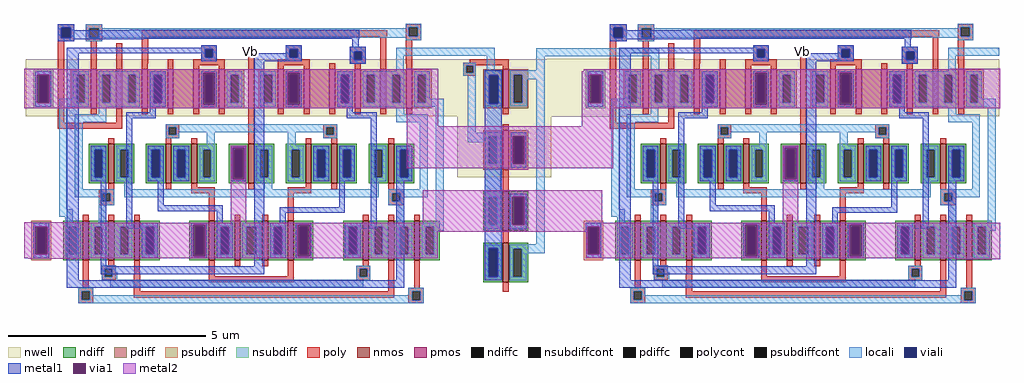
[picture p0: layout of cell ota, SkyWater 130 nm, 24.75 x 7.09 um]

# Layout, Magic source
magic
tech sky130A
<< nwell >>
rect 1051 125 1400 126
rect -270 -20 2199 125
rect 825 -21 1400 -20
rect 825 -175 1063 -21
<< nmos >>
rect -60 -190 -45 -90
rect 85 -190 100 -90
rect 150 -190 165 -90
rect 295 -190 310 -90
rect 440 -190 455 -90
rect 505 -190 520 -90
rect 650 -190 665 -90
rect 1340 -190 1355 -90
rect 1485 -190 1500 -90
rect 1550 -190 1565 -90
rect 1695 -190 1710 -90
rect 1840 -190 1855 -90
rect 1905 -190 1920 -90
rect 2050 -190 2065 -90
rect -125 -385 -110 -285
rect -60 -385 -45 -285
rect 5 -385 20 -285
rect 195 -385 210 -285
rect 260 -385 275 -285
rect 330 -385 345 -285
rect 395 -385 410 -285
rect 585 -385 600 -285
rect 650 -385 665 -285
rect 715 -385 730 -285
rect 940 -310 955 -210
rect 940 -440 955 -340
rect 1275 -385 1290 -285
rect 1340 -385 1355 -285
rect 1405 -385 1420 -285
rect 1595 -385 1610 -285
rect 1660 -385 1675 -285
rect 1730 -385 1745 -285
rect 1795 -385 1810 -285
rect 1985 -385 2000 -285
rect 2050 -385 2065 -285
rect 2115 -385 2130 -285
<< pmos >>
rect -105 0 -90 100
rect -40 0 -25 100
rect 25 0 40 100
rect 90 0 105 100
rect 155 0 170 100
rect 220 0 235 100
rect 370 0 385 100
rect 435 0 450 100
rect 500 0 515 100
rect 565 0 580 100
rect 630 0 645 100
rect 695 0 710 100
rect 940 0 955 100
rect 1295 0 1310 100
rect 1360 0 1375 100
rect 1425 0 1440 100
rect 1490 0 1505 100
rect 1555 0 1570 100
rect 1620 0 1635 100
rect 940 -155 955 -55
rect 1770 0 1785 100
rect 1835 0 1850 100
rect 1900 0 1915 100
rect 1965 0 1980 100
rect 2030 0 2045 100
rect 2095 0 2110 100
<< ndiff >>
rect -110 -105 -60 -90
rect -110 -175 -95 -105
rect -75 -175 -60 -105
rect -110 -190 -60 -175
rect -45 -105 5 -90
rect -45 -175 -30 -105
rect -10 -175 5 -105
rect -45 -190 5 -175
rect 35 -105 85 -90
rect 35 -175 50 -105
rect 70 -175 85 -105
rect 35 -190 85 -175
rect 100 -105 150 -90
rect 100 -175 115 -105
rect 135 -175 150 -105
rect 100 -190 150 -175
rect 165 -105 215 -90
rect 165 -175 180 -105
rect 200 -175 215 -105
rect 165 -190 215 -175
rect 245 -105 295 -90
rect 245 -175 260 -105
rect 280 -175 295 -105
rect 245 -190 295 -175
rect 310 -105 360 -90
rect 310 -175 325 -105
rect 345 -175 360 -105
rect 310 -190 360 -175
rect 390 -105 440 -90
rect 390 -175 405 -105
rect 425 -175 440 -105
rect 390 -190 440 -175
rect 455 -105 505 -90
rect 455 -175 470 -105
rect 490 -175 505 -105
rect 455 -190 505 -175
rect 520 -105 570 -90
rect 520 -175 535 -105
rect 555 -175 570 -105
rect 520 -190 570 -175
rect 600 -105 650 -90
rect 600 -175 615 -105
rect 635 -175 650 -105
rect 600 -190 650 -175
rect 665 -105 715 -90
rect 665 -175 680 -105
rect 700 -175 715 -105
rect 1290 -105 1340 -90
rect 665 -190 715 -175
rect 1290 -175 1305 -105
rect 1325 -175 1340 -105
rect 1290 -190 1340 -175
rect 1355 -105 1405 -90
rect 1355 -175 1370 -105
rect 1390 -175 1405 -105
rect 1355 -190 1405 -175
rect 1435 -105 1485 -90
rect 1435 -175 1450 -105
rect 1470 -175 1485 -105
rect 1435 -190 1485 -175
rect 1500 -105 1550 -90
rect 1500 -175 1515 -105
rect 1535 -175 1550 -105
rect 1500 -190 1550 -175
rect 1565 -105 1615 -90
rect 1565 -175 1580 -105
rect 1600 -175 1615 -105
rect 1565 -190 1615 -175
rect 1645 -105 1695 -90
rect 1645 -175 1660 -105
rect 1680 -175 1695 -105
rect 1645 -190 1695 -175
rect 1710 -105 1760 -90
rect 1710 -175 1725 -105
rect 1745 -175 1760 -105
rect 1710 -190 1760 -175
rect 1790 -105 1840 -90
rect 1790 -175 1805 -105
rect 1825 -175 1840 -105
rect 1790 -190 1840 -175
rect 1855 -105 1905 -90
rect 1855 -175 1870 -105
rect 1890 -175 1905 -105
rect 1855 -190 1905 -175
rect 1920 -105 1970 -90
rect 1920 -175 1935 -105
rect 1955 -175 1970 -105
rect 1920 -190 1970 -175
rect 2000 -105 2050 -90
rect 2000 -175 2015 -105
rect 2035 -175 2050 -105
rect 2000 -190 2050 -175
rect 2065 -105 2115 -90
rect 2065 -175 2080 -105
rect 2100 -175 2115 -105
rect 2065 -190 2115 -175
rect 890 -225 940 -210
rect -175 -300 -125 -285
rect -175 -370 -160 -300
rect -140 -370 -125 -300
rect -175 -385 -125 -370
rect -110 -300 -60 -285
rect -110 -370 -95 -300
rect -75 -370 -60 -300
rect -110 -385 -60 -370
rect -45 -300 5 -285
rect -45 -370 -30 -300
rect -10 -370 5 -300
rect -45 -385 5 -370
rect 20 -300 70 -285
rect 20 -370 35 -300
rect 55 -370 70 -300
rect 20 -385 70 -370
rect 145 -300 195 -285
rect 145 -370 160 -300
rect 180 -370 195 -300
rect 145 -385 195 -370
rect 210 -300 260 -285
rect 210 -370 225 -300
rect 245 -370 260 -300
rect 210 -385 260 -370
rect 275 -300 330 -285
rect 275 -370 290 -300
rect 315 -370 330 -300
rect 275 -385 330 -370
rect 345 -300 395 -285
rect 345 -370 360 -300
rect 380 -370 395 -300
rect 345 -385 395 -370
rect 410 -300 460 -285
rect 410 -370 425 -300
rect 445 -370 460 -300
rect 410 -385 460 -370
rect 535 -300 585 -285
rect 535 -370 550 -300
rect 570 -370 585 -300
rect 535 -385 585 -370
rect 600 -300 650 -285
rect 600 -370 615 -300
rect 635 -370 650 -300
rect 600 -385 650 -370
rect 665 -300 715 -285
rect 665 -370 680 -300
rect 700 -370 715 -300
rect 665 -385 715 -370
rect 730 -300 780 -285
rect 730 -370 745 -300
rect 765 -370 780 -300
rect 890 -295 905 -225
rect 925 -295 940 -225
rect 890 -310 940 -295
rect 955 -225 1005 -210
rect 955 -295 969 -225
rect 990 -295 1005 -225
rect 955 -310 1005 -295
rect 730 -385 780 -370
rect 890 -356 940 -340
rect 890 -427 905 -356
rect 926 -427 940 -356
rect 890 -440 940 -427
rect 955 -356 1005 -340
rect 955 -427 967 -356
rect 988 -427 1005 -356
rect 1225 -300 1275 -285
rect 1225 -370 1240 -300
rect 1260 -370 1275 -300
rect 1225 -385 1275 -370
rect 1290 -300 1340 -285
rect 1290 -370 1305 -300
rect 1325 -370 1340 -300
rect 1290 -385 1340 -370
rect 1355 -300 1405 -285
rect 1355 -370 1370 -300
rect 1390 -370 1405 -300
rect 1355 -385 1405 -370
rect 1420 -300 1470 -285
rect 1420 -370 1435 -300
rect 1455 -370 1470 -300
rect 1420 -385 1470 -370
rect 1545 -300 1595 -285
rect 1545 -370 1560 -300
rect 1580 -370 1595 -300
rect 1545 -385 1595 -370
rect 1610 -300 1660 -285
rect 1610 -370 1625 -300
rect 1645 -370 1660 -300
rect 1610 -385 1660 -370
rect 1675 -300 1730 -285
rect 1675 -370 1690 -300
rect 1715 -370 1730 -300
rect 1675 -385 1730 -370
rect 1745 -300 1795 -285
rect 1745 -370 1760 -300
rect 1780 -370 1795 -300
rect 1745 -385 1795 -370
rect 1810 -300 1860 -285
rect 1810 -370 1825 -300
rect 1845 -370 1860 -300
rect 1810 -385 1860 -370
rect 1935 -300 1985 -285
rect 1935 -370 1950 -300
rect 1970 -370 1985 -300
rect 1935 -385 1985 -370
rect 2000 -300 2050 -285
rect 2000 -370 2015 -300
rect 2035 -370 2050 -300
rect 2000 -385 2050 -370
rect 2065 -300 2115 -285
rect 2065 -370 2080 -300
rect 2100 -370 2115 -300
rect 2065 -385 2115 -370
rect 2130 -300 2180 -285
rect 2130 -370 2145 -300
rect 2165 -370 2180 -300
rect 2130 -385 2180 -370
rect 955 -440 1005 -427
<< pdiff >>
rect -155 85 -105 100
rect -155 15 -140 85
rect -120 15 -105 85
rect -155 0 -105 15
rect -90 85 -40 100
rect -90 15 -75 85
rect -55 15 -40 85
rect -90 0 -40 15
rect -25 85 25 100
rect -25 15 -10 85
rect 10 15 25 85
rect -25 0 25 15
rect 40 85 90 100
rect 40 15 55 85
rect 75 15 90 85
rect 40 0 90 15
rect 105 0 155 100
rect 170 85 220 100
rect 170 15 185 85
rect 205 15 220 85
rect 170 0 220 15
rect 235 85 285 100
rect 235 15 250 85
rect 270 15 285 85
rect 235 0 285 15
rect 320 85 370 100
rect 320 15 335 85
rect 355 15 370 85
rect 320 0 370 15
rect 385 85 435 100
rect 385 15 400 85
rect 420 15 435 85
rect 385 0 435 15
rect 450 0 500 100
rect 515 85 565 100
rect 515 15 530 85
rect 550 15 565 85
rect 515 0 565 15
rect 580 85 630 100
rect 580 15 595 85
rect 615 15 630 85
rect 580 0 630 15
rect 645 85 695 100
rect 645 15 660 85
rect 680 15 695 85
rect 645 0 695 15
rect 710 85 760 100
rect 710 15 725 85
rect 745 15 760 85
rect 890 84 940 100
rect 710 0 760 15
rect 890 13 906 84
rect 927 13 940 84
rect 890 0 940 13
rect 955 86 1005 100
rect 955 15 968 86
rect 989 15 1005 86
rect 955 0 1005 15
rect 1245 85 1295 100
rect 1245 15 1260 85
rect 1280 15 1295 85
rect 1245 0 1295 15
rect 1310 85 1360 100
rect 1310 15 1325 85
rect 1345 15 1360 85
rect 1310 0 1360 15
rect 1375 85 1425 100
rect 1375 15 1390 85
rect 1410 15 1425 85
rect 1375 0 1425 15
rect 1440 85 1490 100
rect 1440 15 1455 85
rect 1475 15 1490 85
rect 1440 0 1490 15
rect 1505 0 1555 100
rect 1570 85 1620 100
rect 1570 15 1585 85
rect 1605 15 1620 85
rect 1570 0 1620 15
rect 1635 85 1685 100
rect 1635 15 1650 85
rect 1670 15 1685 85
rect 1635 0 1685 15
rect 890 -70 940 -55
rect 890 -140 905 -70
rect 925 -140 940 -70
rect 890 -155 940 -140
rect 955 -70 1005 -55
rect 955 -140 970 -70
rect 990 -140 1005 -70
rect 1720 85 1770 100
rect 1720 15 1735 85
rect 1755 15 1770 85
rect 1720 0 1770 15
rect 1785 85 1835 100
rect 1785 15 1800 85
rect 1820 15 1835 85
rect 1785 0 1835 15
rect 1850 0 1900 100
rect 1915 85 1965 100
rect 1915 15 1930 85
rect 1950 15 1965 85
rect 1915 0 1965 15
rect 1980 85 2030 100
rect 1980 15 1995 85
rect 2015 15 2030 85
rect 1980 0 2030 15
rect 2045 85 2095 100
rect 2045 15 2060 85
rect 2080 15 2095 85
rect 2045 0 2095 15
rect 2110 85 2160 100
rect 2110 15 2125 85
rect 2145 15 2160 85
rect 2110 0 2160 15
rect 955 -155 1005 -140
<< ndiffc >>
rect -95 -175 -75 -105
rect -30 -175 -10 -105
rect 50 -175 70 -105
rect 115 -175 135 -105
rect 180 -175 200 -105
rect 260 -175 280 -105
rect 325 -175 345 -105
rect 405 -175 425 -105
rect 470 -175 490 -105
rect 535 -175 555 -105
rect 615 -175 635 -105
rect 680 -175 700 -105
rect 1305 -175 1325 -105
rect 1370 -175 1390 -105
rect 1450 -175 1470 -105
rect 1515 -175 1535 -105
rect 1580 -175 1600 -105
rect 1660 -175 1680 -105
rect 1725 -175 1745 -105
rect 1805 -175 1825 -105
rect 1870 -175 1890 -105
rect 1935 -175 1955 -105
rect 2015 -175 2035 -105
rect 2080 -175 2100 -105
rect -160 -370 -140 -300
rect -95 -370 -75 -300
rect -30 -370 -10 -300
rect 35 -370 55 -300
rect 160 -370 180 -300
rect 225 -370 245 -300
rect 290 -370 315 -300
rect 360 -370 380 -300
rect 425 -370 445 -300
rect 550 -370 570 -300
rect 615 -370 635 -300
rect 680 -370 700 -300
rect 745 -370 765 -300
rect 905 -295 925 -225
rect 969 -295 990 -225
rect 905 -427 926 -356
rect 967 -427 988 -356
rect 1240 -370 1260 -300
rect 1305 -370 1325 -300
rect 1370 -370 1390 -300
rect 1435 -370 1455 -300
rect 1560 -370 1580 -300
rect 1625 -370 1645 -300
rect 1690 -370 1715 -300
rect 1760 -370 1780 -300
rect 1825 -370 1845 -300
rect 1950 -370 1970 -300
rect 2015 -370 2035 -300
rect 2080 -370 2100 -300
rect 2145 -370 2165 -300
<< pdiffc >>
rect -140 15 -120 85
rect -75 15 -55 85
rect -10 15 10 85
rect 55 15 75 85
rect 185 15 205 85
rect 250 15 270 85
rect 335 15 355 85
rect 400 15 420 85
rect 530 15 550 85
rect 595 15 615 85
rect 660 15 680 85
rect 725 15 745 85
rect 906 13 927 84
rect 968 15 989 86
rect 1260 15 1280 85
rect 1325 15 1345 85
rect 1390 15 1410 85
rect 1455 15 1475 85
rect 1585 15 1605 85
rect 1650 15 1670 85
rect 905 -140 925 -70
rect 970 -140 990 -70
rect 1735 15 1755 85
rect 1800 15 1820 85
rect 1930 15 1950 85
rect 1995 15 2015 85
rect 2060 15 2080 85
rect 2125 15 2145 85
<< psubdiff >>
rect -255 -300 -205 -285
rect -255 -370 -240 -300
rect -220 -370 -205 -300
rect -255 -385 -205 -370
rect 1145 -300 1195 -285
rect 1145 -370 1160 -300
rect 1180 -370 1195 -300
rect 1145 -385 1195 -370
<< nsubdiff >>
rect -250 85 -200 100
rect -250 15 -235 85
rect -215 15 -200 85
rect -250 0 -200 15
rect 1150 85 1200 100
rect 1150 15 1165 85
rect 1185 15 1200 85
rect 1150 0 1200 15
<< psubdiffcont >>
rect -240 -370 -220 -300
rect 1160 -370 1180 -300
<< nsubdiffcont >>
rect -235 15 -215 85
rect 1165 15 1185 85
<< poly >>
rect -188 205 -146 214
rect -188 180 -179 205
rect -156 180 -146 205
rect -188 170 -146 180
rect -117 204 -76 213
rect -117 180 -108 204
rect -84 180 -76 204
rect 694 206 733 214
rect -117 171 -76 180
rect 25 183 647 199
rect 694 183 702 206
rect 724 183 733 206
rect 25 182 645 183
rect -188 -36 -172 170
rect -105 100 -90 171
rect -40 100 -25 165
rect 25 115 41 182
rect 175 150 215 160
rect 175 130 185 150
rect 205 130 215 150
rect 390 150 430 160
rect 175 125 215 130
rect 25 100 40 115
rect 90 100 105 125
rect 155 110 235 125
rect 155 100 170 110
rect 220 100 235 110
rect -105 -15 -90 0
rect -40 -36 -25 0
rect 25 -15 40 0
rect 90 -15 105 0
rect 155 -15 170 0
rect 220 -15 235 0
rect -188 -51 -25 -36
rect 85 -47 120 -40
rect 85 -66 93 -47
rect 112 -66 120 -47
rect 85 -75 120 -66
rect -60 -90 -45 -75
rect 85 -90 100 -75
rect 150 -90 165 -75
rect 295 -90 310 145
rect 390 130 400 150
rect 420 130 430 150
rect 390 125 430 130
rect 553 144 592 156
rect 370 110 450 125
rect 553 124 563 144
rect 583 124 592 144
rect 370 100 385 110
rect 435 100 450 110
rect 500 100 515 115
rect 553 114 592 124
rect 565 100 580 114
rect 630 100 645 182
rect 694 173 733 183
rect 1212 205 1254 214
rect 1212 180 1221 205
rect 1244 180 1254 205
rect 694 113 710 173
rect 1212 170 1254 180
rect 1283 204 1324 213
rect 1283 180 1292 204
rect 1316 180 1324 204
rect 2094 206 2133 214
rect 1283 171 1324 180
rect 1425 183 2047 199
rect 2094 183 2102 206
rect 2124 183 2133 206
rect 1425 182 2045 183
rect 856 116 955 125
rect 695 100 710 113
rect 840 110 955 116
rect 840 108 872 110
rect 840 91 848 108
rect 865 91 872 108
rect 940 100 955 110
rect 840 83 872 91
rect 370 -15 385 0
rect 435 -15 450 0
rect 500 -15 515 0
rect 565 -15 580 0
rect 630 -15 645 0
rect 695 -15 710 0
rect 940 -15 955 0
rect 1212 -36 1228 170
rect 1295 100 1310 171
rect 1360 100 1375 165
rect 1425 115 1441 182
rect 1575 150 1615 160
rect 1575 130 1585 150
rect 1605 130 1615 150
rect 1790 150 1830 160
rect 1575 125 1615 130
rect 1425 100 1440 115
rect 1490 100 1505 125
rect 1555 110 1635 125
rect 1555 100 1570 110
rect 1620 100 1635 110
rect 1295 -15 1310 0
rect 1360 -36 1375 0
rect 1425 -15 1440 0
rect 1490 -15 1505 0
rect 1555 -15 1570 0
rect 1620 -15 1635 0
rect 485 -48 520 -40
rect 485 -67 493 -48
rect 512 -67 520 -48
rect 940 -55 955 -40
rect 1212 -51 1375 -36
rect 1485 -47 1520 -40
rect 485 -75 520 -67
rect 440 -90 455 -75
rect 505 -90 520 -75
rect 650 -90 665 -75
rect 1485 -66 1493 -47
rect 1512 -66 1520 -47
rect 1485 -75 1520 -66
rect 1340 -90 1355 -75
rect 1485 -90 1500 -75
rect 1550 -90 1565 -75
rect 1695 -90 1710 145
rect 1790 130 1800 150
rect 1820 130 1830 150
rect 1790 125 1830 130
rect 1953 144 1992 156
rect 1770 110 1850 125
rect 1953 124 1963 144
rect 1983 124 1992 144
rect 1770 100 1785 110
rect 1835 100 1850 110
rect 1900 100 1915 115
rect 1953 114 1992 124
rect 1965 100 1980 114
rect 2030 100 2045 182
rect 2094 173 2133 183
rect 2094 113 2110 173
rect 2095 100 2110 113
rect 1770 -15 1785 0
rect 1835 -15 1850 0
rect 1900 -15 1915 0
rect 1965 -15 1980 0
rect 2030 -15 2045 0
rect 2095 -15 2110 0
rect 1885 -48 1920 -40
rect 1885 -67 1893 -48
rect 1912 -67 1920 -48
rect 1885 -75 1920 -67
rect 1840 -90 1855 -75
rect 1905 -90 1920 -75
rect 2050 -90 2065 -75
rect -60 -205 -45 -190
rect 85 -205 100 -190
rect 150 -200 165 -190
rect -85 -215 -45 -205
rect 150 -215 210 -200
rect 295 -205 310 -190
rect 440 -200 455 -190
rect -85 -235 -75 -215
rect -55 -235 -45 -215
rect -85 -245 -45 -235
rect -125 -285 -110 -270
rect -60 -285 -45 -270
rect 5 -285 20 -270
rect 195 -285 210 -215
rect 395 -215 455 -200
rect 505 -205 520 -190
rect 650 -205 665 -190
rect 650 -215 690 -205
rect 940 -210 955 -155
rect 1340 -205 1355 -190
rect 1485 -205 1500 -190
rect 1550 -200 1565 -190
rect 260 -285 275 -270
rect 330 -285 345 -270
rect 395 -285 410 -215
rect 650 -235 660 -215
rect 680 -235 690 -215
rect 650 -245 690 -235
rect 585 -285 600 -270
rect 650 -285 665 -270
rect 715 -285 730 -270
rect 1315 -215 1355 -205
rect 1550 -215 1610 -200
rect 1695 -205 1710 -190
rect 1840 -200 1855 -190
rect 1315 -235 1325 -215
rect 1345 -235 1355 -215
rect 1315 -245 1355 -235
rect 1275 -285 1290 -270
rect 1340 -285 1355 -270
rect 1405 -285 1420 -270
rect 1595 -285 1610 -215
rect 1795 -215 1855 -200
rect 1905 -205 1920 -190
rect 2050 -205 2065 -190
rect 2050 -215 2090 -205
rect 1660 -285 1675 -270
rect 1730 -285 1745 -270
rect 1795 -285 1810 -215
rect 2050 -235 2060 -215
rect 2080 -235 2090 -215
rect 2050 -245 2090 -235
rect 1985 -285 2000 -270
rect 2050 -285 2065 -270
rect 2115 -285 2130 -270
rect 940 -340 955 -310
rect -125 -455 -110 -385
rect -60 -398 -45 -385
rect -77 -407 -41 -398
rect -77 -427 -69 -407
rect -50 -427 -41 -407
rect 5 -420 20 -385
rect -77 -434 -41 -427
rect -137 -463 -99 -455
rect -137 -485 -128 -463
rect -107 -485 -99 -463
rect 4 -464 21 -420
rect 195 -425 210 -385
rect 260 -400 275 -385
rect 330 -400 345 -385
rect 395 -425 410 -385
rect 585 -399 600 -385
rect 195 -440 410 -425
rect 568 -407 604 -399
rect 568 -427 577 -407
rect 596 -427 604 -407
rect 568 -435 604 -427
rect 650 -464 665 -385
rect 715 -455 730 -385
rect 4 -480 665 -464
rect 701 -464 740 -455
rect -137 -494 -99 -485
rect 701 -486 710 -464
rect 731 -486 740 -464
rect 940 -465 955 -440
rect 1275 -455 1290 -385
rect 1340 -398 1355 -385
rect 1323 -407 1359 -398
rect 1323 -427 1331 -407
rect 1350 -427 1359 -407
rect 1405 -420 1420 -385
rect 1323 -434 1359 -427
rect 1263 -463 1301 -455
rect 701 -494 740 -486
rect 1263 -485 1272 -463
rect 1293 -485 1301 -463
rect 1404 -464 1421 -420
rect 1595 -425 1610 -385
rect 1660 -400 1675 -385
rect 1730 -400 1745 -385
rect 1795 -425 1810 -385
rect 1985 -399 2000 -385
rect 1595 -440 1810 -425
rect 1968 -407 2004 -399
rect 1968 -427 1977 -407
rect 1996 -427 2004 -407
rect 1968 -435 2004 -427
rect 2050 -464 2065 -385
rect 2115 -455 2130 -385
rect 1404 -480 2065 -464
rect 2101 -464 2140 -455
rect 1263 -494 1301 -485
rect 2101 -486 2110 -464
rect 2131 -486 2140 -464
rect 2101 -494 2140 -486
<< polycont >>
rect -179 180 -156 205
rect -108 180 -84 204
rect 702 183 724 206
rect 185 130 205 150
rect 93 -66 112 -47
rect 400 130 420 150
rect 563 124 583 144
rect 1221 180 1244 205
rect 1292 180 1316 204
rect 2102 183 2124 206
rect 848 91 865 108
rect 1585 130 1605 150
rect 493 -67 512 -48
rect 1493 -66 1512 -47
rect 1800 130 1820 150
rect 1963 124 1983 144
rect 1893 -67 1912 -48
rect -75 -235 -55 -215
rect 660 -235 680 -215
rect 1325 -235 1345 -215
rect 2060 -235 2080 -215
rect -69 -427 -50 -407
rect -128 -485 -107 -463
rect 577 -427 596 -407
rect 710 -486 731 -464
rect 1331 -427 1350 -407
rect 1272 -485 1293 -463
rect 1977 -427 1996 -407
rect 2110 -486 2131 -464
<< locali >>
rect -188 205 -146 214
rect -188 180 -179 205
rect -156 180 -146 205
rect -188 170 -146 180
rect -117 204 -76 213
rect 694 206 733 215
rect 694 204 702 206
rect -117 180 -108 204
rect -84 183 702 204
rect 724 183 733 206
rect -84 180 733 183
rect -117 179 733 180
rect -117 171 -76 179
rect 694 173 733 179
rect 1212 205 1254 214
rect 1212 180 1221 205
rect 1244 180 1254 205
rect 1212 170 1254 180
rect 1283 204 1324 213
rect 2094 206 2133 215
rect 2094 204 2102 206
rect 1283 180 1292 204
rect 1316 183 2102 204
rect 2124 183 2133 206
rect 1316 180 2133 183
rect 1283 179 2133 180
rect 1283 171 1324 179
rect 2094 173 2133 179
rect 175 150 215 160
rect 175 130 185 150
rect 205 130 215 150
rect 175 120 215 130
rect 390 150 430 160
rect 390 130 400 150
rect 420 130 430 150
rect 390 120 430 130
rect 553 144 592 156
rect 553 124 563 144
rect 583 124 592 144
rect 553 114 592 124
rect 670 134 920 154
rect 670 95 689 134
rect 840 108 872 116
rect -245 85 -205 95
rect -245 15 -235 85
rect -215 15 -205 85
rect -150 85 -110 95
rect -150 25 -140 85
rect -245 5 -205 15
rect -185 15 -140 25
rect -120 15 -110 85
rect -185 5 -110 15
rect -85 85 20 95
rect -85 15 -75 85
rect -55 15 -10 85
rect 10 15 20 85
rect -85 5 20 15
rect 45 85 85 95
rect 45 15 55 85
rect 75 15 85 85
rect 45 5 85 15
rect 175 85 215 95
rect 175 15 185 85
rect 205 15 215 85
rect 175 5 215 15
rect 240 85 280 95
rect 240 15 250 85
rect 270 15 280 85
rect 240 5 280 15
rect 325 85 365 95
rect 325 15 335 85
rect 355 15 365 85
rect 325 5 365 15
rect 390 85 430 95
rect 390 15 400 85
rect 420 15 430 85
rect 390 5 430 15
rect 520 85 560 95
rect 520 15 530 85
rect 550 15 560 85
rect 520 5 560 15
rect 585 85 690 95
rect 585 15 595 85
rect 615 15 660 85
rect 680 15 690 85
rect 585 5 690 15
rect 715 85 755 95
rect 715 15 725 85
rect 745 25 755 85
rect 840 91 848 108
rect 865 91 872 108
rect 900 96 920 134
rect 1025 133 1337 153
rect 1025 97 1046 133
rect 840 83 872 91
rect 894 84 937 96
rect 745 15 790 25
rect 715 5 790 15
rect -185 -255 -165 5
rect -85 -15 -65 5
rect -145 -35 -65 -15
rect 670 -15 690 5
rect 670 -35 750 -15
rect -145 -205 -125 -35
rect 85 -47 520 -40
rect 85 -66 93 -47
rect 112 -48 520 -47
rect 112 -60 493 -48
rect 112 -66 120 -60
rect 85 -75 120 -66
rect 190 -95 210 -60
rect 395 -95 415 -60
rect 485 -67 493 -60
rect 512 -67 520 -48
rect 485 -75 520 -67
rect -105 -105 -65 -95
rect -105 -175 -95 -105
rect -75 -175 -65 -105
rect -105 -185 -65 -175
rect -40 -105 0 -95
rect -40 -175 -30 -105
rect -10 -175 0 -105
rect -40 -185 0 -175
rect 40 -105 80 -95
rect 40 -175 50 -105
rect 70 -175 80 -105
rect 40 -185 80 -175
rect 105 -105 145 -95
rect 105 -175 115 -105
rect 135 -175 145 -105
rect 105 -185 145 -175
rect 170 -105 210 -95
rect 170 -175 180 -105
rect 200 -175 210 -105
rect 170 -185 210 -175
rect 250 -105 290 -95
rect 250 -175 260 -105
rect 280 -175 290 -105
rect 250 -185 290 -175
rect 315 -105 355 -95
rect 315 -175 325 -105
rect 345 -175 355 -105
rect 315 -185 355 -175
rect 395 -105 435 -95
rect 395 -175 405 -105
rect 425 -175 435 -105
rect 395 -185 435 -175
rect 460 -105 500 -95
rect 460 -175 470 -105
rect 490 -175 500 -105
rect 460 -185 500 -175
rect 525 -105 565 -95
rect 525 -175 535 -105
rect 555 -175 565 -105
rect 525 -185 565 -175
rect 605 -105 645 -95
rect 605 -175 615 -105
rect 635 -175 645 -105
rect 605 -185 645 -175
rect 670 -105 710 -95
rect 670 -175 680 -105
rect 700 -175 710 -105
rect 670 -185 710 -175
rect -20 -205 0 -185
rect 335 -205 355 -185
rect 605 -205 625 -185
rect 730 -205 750 -35
rect -145 -215 -45 -205
rect -145 -225 -75 -215
rect -85 -235 -75 -225
rect -55 -235 -45 -215
rect -20 -225 625 -205
rect 650 -215 750 -205
rect -85 -245 -45 -235
rect 650 -235 660 -215
rect 680 -225 750 -215
rect 680 -235 690 -225
rect 650 -245 690 -235
rect -185 -275 -150 -255
rect -170 -290 -150 -275
rect -85 -290 -65 -245
rect 670 -290 690 -245
rect 770 -290 790 5
rect 851 -61 871 83
rect 894 12 906 84
rect 928 12 937 84
rect 894 6 937 12
rect 959 86 1046 97
rect 1315 95 1337 133
rect 1575 150 1615 160
rect 1575 130 1585 150
rect 1605 130 1615 150
rect 1575 120 1615 130
rect 1790 150 1830 160
rect 1790 130 1800 150
rect 1820 130 1830 150
rect 1790 120 1830 130
rect 1953 144 1992 156
rect 1953 124 1963 144
rect 1983 124 1992 144
rect 1953 114 1992 124
rect 2070 134 2199 154
rect 2070 95 2089 134
rect 959 15 968 86
rect 989 74 1046 86
rect 989 15 1002 74
rect 959 6 1002 15
rect 895 -61 935 -60
rect 851 -70 935 -61
rect 851 -84 905 -70
rect 852 -86 905 -84
rect -250 -300 -210 -290
rect -250 -370 -240 -300
rect -220 -370 -210 -300
rect -250 -380 -210 -370
rect -170 -300 -130 -290
rect -170 -370 -160 -300
rect -140 -370 -130 -300
rect -170 -380 -130 -370
rect -105 -300 0 -290
rect -105 -370 -95 -300
rect -75 -370 -30 -300
rect -10 -370 0 -300
rect -105 -380 0 -370
rect 25 -300 65 -290
rect 25 -370 35 -300
rect 55 -370 65 -300
rect 25 -380 65 -370
rect 150 -300 190 -290
rect 150 -370 160 -300
rect 180 -370 190 -300
rect 150 -380 190 -370
rect 215 -300 255 -290
rect 215 -370 225 -300
rect 245 -370 255 -300
rect 215 -380 255 -370
rect 280 -300 325 -290
rect 280 -370 290 -300
rect 315 -370 325 -300
rect 280 -380 325 -370
rect 350 -300 390 -290
rect 350 -370 360 -300
rect 380 -370 390 -300
rect 350 -380 390 -370
rect 415 -300 455 -290
rect 415 -370 425 -300
rect 445 -370 455 -300
rect 415 -380 455 -370
rect 540 -300 580 -290
rect 540 -370 550 -300
rect 570 -370 580 -300
rect 540 -380 580 -370
rect 605 -300 710 -290
rect 605 -370 615 -300
rect 635 -370 680 -300
rect 700 -370 710 -300
rect 605 -380 710 -370
rect 735 -300 790 -290
rect 735 -370 745 -300
rect 765 -310 790 -300
rect 895 -140 905 -86
rect 925 -140 935 -70
rect 895 -225 935 -140
rect 960 -70 1000 -60
rect 960 -140 970 -70
rect 990 -140 1000 -70
rect 960 -150 1000 -140
rect 895 -295 905 -225
rect 925 -295 935 -225
rect 895 -305 935 -295
rect 959 -225 1000 -216
rect 959 -295 969 -225
rect 990 -295 1000 -225
rect 959 -306 1000 -295
rect 765 -370 775 -310
rect 1025 -344 1046 74
rect 1155 85 1195 95
rect 1155 15 1165 85
rect 1185 15 1195 85
rect 1250 85 1290 95
rect 1250 25 1260 85
rect 1155 5 1195 15
rect 1215 15 1260 25
rect 1280 15 1290 85
rect 1215 5 1290 15
rect 1315 85 1420 95
rect 1315 15 1325 85
rect 1345 15 1390 85
rect 1410 15 1420 85
rect 1315 5 1420 15
rect 1445 85 1485 95
rect 1445 15 1455 85
rect 1475 15 1485 85
rect 1445 5 1485 15
rect 1575 85 1615 95
rect 1575 15 1585 85
rect 1605 15 1615 85
rect 1575 5 1615 15
rect 1640 85 1680 95
rect 1640 15 1650 85
rect 1670 15 1680 85
rect 1640 5 1680 15
rect 1725 85 1765 95
rect 1725 15 1735 85
rect 1755 15 1765 85
rect 1725 5 1765 15
rect 1790 85 1830 95
rect 1790 15 1800 85
rect 1820 15 1830 85
rect 1790 5 1830 15
rect 1920 85 1960 95
rect 1920 15 1930 85
rect 1950 15 1960 85
rect 1920 5 1960 15
rect 1985 85 2090 95
rect 1985 15 1995 85
rect 2015 15 2060 85
rect 2080 15 2090 85
rect 1985 5 2090 15
rect 2115 85 2155 95
rect 2115 15 2125 85
rect 2145 25 2155 85
rect 2145 15 2190 25
rect 2115 5 2190 15
rect 1215 -255 1235 5
rect 1315 -15 1335 5
rect 1255 -35 1335 -15
rect 2070 -15 2090 5
rect 2070 -35 2150 -15
rect 1255 -205 1275 -35
rect 1485 -47 1920 -40
rect 1485 -66 1493 -47
rect 1512 -48 1920 -47
rect 1512 -60 1893 -48
rect 1512 -66 1520 -60
rect 1485 -75 1520 -66
rect 1590 -95 1610 -60
rect 1795 -95 1815 -60
rect 1885 -67 1893 -60
rect 1912 -67 1920 -48
rect 1885 -75 1920 -67
rect 1295 -105 1335 -95
rect 1295 -175 1305 -105
rect 1325 -175 1335 -105
rect 1295 -185 1335 -175
rect 1360 -105 1400 -95
rect 1360 -175 1370 -105
rect 1390 -175 1400 -105
rect 1360 -185 1400 -175
rect 1440 -105 1480 -95
rect 1440 -175 1450 -105
rect 1470 -175 1480 -105
rect 1440 -185 1480 -175
rect 1505 -105 1545 -95
rect 1505 -175 1515 -105
rect 1535 -175 1545 -105
rect 1505 -185 1545 -175
rect 1570 -105 1610 -95
rect 1570 -175 1580 -105
rect 1600 -175 1610 -105
rect 1570 -185 1610 -175
rect 1650 -105 1690 -95
rect 1650 -175 1660 -105
rect 1680 -175 1690 -105
rect 1650 -185 1690 -175
rect 1715 -105 1755 -95
rect 1715 -175 1725 -105
rect 1745 -175 1755 -105
rect 1715 -185 1755 -175
rect 1795 -105 1835 -95
rect 1795 -175 1805 -105
rect 1825 -175 1835 -105
rect 1795 -185 1835 -175
rect 1860 -105 1900 -95
rect 1860 -175 1870 -105
rect 1890 -175 1900 -105
rect 1860 -185 1900 -175
rect 1925 -105 1965 -95
rect 1925 -175 1935 -105
rect 1955 -175 1965 -105
rect 1925 -185 1965 -175
rect 2005 -105 2045 -95
rect 2005 -175 2015 -105
rect 2035 -175 2045 -105
rect 2005 -185 2045 -175
rect 2070 -105 2110 -95
rect 2070 -175 2080 -105
rect 2100 -175 2110 -105
rect 2070 -185 2110 -175
rect 1380 -205 1400 -185
rect 1735 -205 1755 -185
rect 2005 -205 2025 -185
rect 2130 -205 2150 -35
rect 1255 -215 1355 -205
rect 1255 -225 1325 -215
rect 1315 -235 1325 -225
rect 1345 -235 1355 -215
rect 1380 -225 2025 -205
rect 2050 -215 2150 -205
rect 1315 -245 1355 -235
rect 2050 -235 2060 -215
rect 2080 -225 2150 -215
rect 2080 -235 2090 -225
rect 2050 -245 2090 -235
rect 1215 -275 1250 -255
rect 1230 -290 1250 -275
rect 1315 -290 1335 -245
rect 2070 -290 2090 -245
rect 2170 -290 2190 5
rect 972 -345 1046 -344
rect 735 -380 775 -370
rect 894 -355 937 -345
rect -77 -407 -41 -398
rect -77 -427 -69 -407
rect -50 -417 -41 -407
rect 568 -407 604 -399
rect -50 -427 -38 -417
rect -77 -434 -38 -427
rect 568 -427 577 -407
rect 596 -427 604 -407
rect 568 -434 604 -427
rect -55 -435 604 -434
rect 894 -427 904 -355
rect 927 -427 937 -355
rect 894 -435 937 -427
rect 958 -356 1046 -345
rect 958 -427 967 -356
rect 988 -367 1046 -356
rect 1150 -300 1190 -290
rect 988 -427 1001 -367
rect 1150 -370 1160 -300
rect 1180 -370 1190 -300
rect 1150 -380 1190 -370
rect 1230 -300 1270 -290
rect 1230 -370 1240 -300
rect 1260 -370 1270 -300
rect 1230 -380 1270 -370
rect 1295 -300 1400 -290
rect 1295 -370 1305 -300
rect 1325 -370 1370 -300
rect 1390 -370 1400 -300
rect 1295 -380 1400 -370
rect 1425 -300 1465 -290
rect 1425 -370 1435 -300
rect 1455 -370 1465 -300
rect 1425 -380 1465 -370
rect 1550 -300 1590 -290
rect 1550 -370 1560 -300
rect 1580 -370 1590 -300
rect 1550 -380 1590 -370
rect 1615 -300 1655 -290
rect 1615 -370 1625 -300
rect 1645 -370 1655 -300
rect 1615 -380 1655 -370
rect 1680 -300 1725 -290
rect 1680 -370 1690 -300
rect 1715 -370 1725 -300
rect 1680 -380 1725 -370
rect 1750 -300 1790 -290
rect 1750 -370 1760 -300
rect 1780 -370 1790 -300
rect 1750 -380 1790 -370
rect 1815 -300 1855 -290
rect 1815 -370 1825 -300
rect 1845 -370 1855 -300
rect 1815 -380 1855 -370
rect 1940 -300 1980 -290
rect 1940 -370 1950 -300
rect 1970 -370 1980 -300
rect 1940 -380 1980 -370
rect 2005 -300 2110 -290
rect 2005 -370 2015 -300
rect 2035 -370 2080 -300
rect 2100 -370 2110 -300
rect 2005 -380 2110 -370
rect 2135 -300 2190 -290
rect 2135 -370 2145 -300
rect 2165 -310 2190 -300
rect 2165 -370 2175 -310
rect 2135 -380 2175 -370
rect 958 -435 1001 -427
rect 1323 -407 1359 -398
rect 1323 -427 1331 -407
rect 1350 -417 1359 -407
rect 1968 -407 2004 -399
rect 1350 -427 1362 -417
rect 1323 -434 1362 -427
rect 1968 -427 1977 -407
rect 1996 -427 2004 -407
rect 1968 -434 2004 -427
rect 1345 -435 2004 -434
rect -55 -453 586 -435
rect 1345 -453 1986 -435
rect -137 -463 -99 -455
rect -137 -485 -128 -463
rect -107 -473 -99 -463
rect 701 -464 740 -455
rect 701 -473 710 -464
rect -107 -485 710 -473
rect -137 -486 710 -485
rect 731 -486 740 -464
rect -137 -494 740 -486
rect 1263 -463 1301 -455
rect 1263 -485 1272 -463
rect 1293 -473 1301 -463
rect 2101 -464 2140 -455
rect 2101 -473 2110 -464
rect 1293 -485 2110 -473
rect 1263 -486 2110 -485
rect 2131 -486 2140 -464
rect 1263 -494 2140 -486
<< viali >>
rect -179 180 -156 205
rect 1221 180 1244 205
rect 185 130 205 150
rect 400 130 420 150
rect 563 124 583 144
rect -235 15 -215 85
rect 55 15 75 85
rect 185 15 205 85
rect 400 15 420 85
rect 530 15 550 85
rect -95 -175 -75 -105
rect 50 -175 70 -105
rect 115 -175 135 -105
rect 260 -175 280 -105
rect 470 -175 490 -105
rect 535 -175 555 -105
rect 680 -175 700 -105
rect 906 13 927 84
rect 927 13 928 84
rect 906 12 928 13
rect 1585 130 1605 150
rect 1800 130 1820 150
rect 1963 124 1983 144
rect -240 -370 -220 -300
rect 35 -370 55 -300
rect 160 -370 180 -300
rect 225 -370 245 -300
rect 360 -370 380 -300
rect 425 -370 445 -300
rect 550 -370 570 -300
rect 970 -140 990 -70
rect 969 -295 990 -225
rect 1165 15 1185 85
rect 1455 15 1475 85
rect 1585 15 1605 85
rect 1800 15 1820 85
rect 1930 15 1950 85
rect 1305 -175 1325 -105
rect 1450 -175 1470 -105
rect 1515 -175 1535 -105
rect 1660 -175 1680 -105
rect 1870 -175 1890 -105
rect 1935 -175 1955 -105
rect 2080 -175 2100 -105
rect 904 -356 927 -355
rect 904 -427 905 -356
rect 905 -427 926 -356
rect 926 -427 927 -356
rect 1160 -370 1180 -300
rect 1435 -370 1455 -300
rect 1560 -370 1580 -300
rect 1625 -370 1645 -300
rect 1760 -370 1780 -300
rect 1825 -370 1845 -300
rect 1950 -370 1970 -300
<< metal1 >>
rect -188 205 -146 214
rect -188 180 -179 205
rect -156 199 -146 205
rect 1212 205 1254 214
rect -7 199 576 200
rect -156 180 576 199
rect -188 177 576 180
rect 1212 180 1221 205
rect 1244 199 1254 205
rect 1393 199 1976 200
rect 1244 180 1976 199
rect 1212 177 1976 180
rect -188 175 30 177
rect -188 170 -146 175
rect 176 154 215 160
rect -165 150 215 154
rect -165 140 185 150
rect -245 85 -205 95
rect -245 15 -240 85
rect -210 15 -205 85
rect -245 5 -205 15
rect -250 -300 -210 -290
rect -250 -370 -245 -300
rect -215 -370 -210 -300
rect -250 -380 -210 -370
rect -165 -435 -135 140
rect 175 130 185 140
rect 205 130 215 150
rect 390 150 430 160
rect 559 156 575 177
rect 1212 175 1430 177
rect 1212 170 1254 175
rect 390 140 400 150
rect 175 120 215 130
rect 310 130 400 140
rect 420 130 430 150
rect 310 120 430 130
rect 552 144 592 156
rect 1576 154 1615 160
rect 552 124 563 144
rect 583 124 592 144
rect 45 85 85 95
rect 45 15 55 85
rect 75 15 85 85
rect 45 5 85 15
rect 175 90 215 95
rect 175 10 180 90
rect 210 10 215 90
rect 175 5 215 10
rect 45 -10 60 5
rect -15 -25 60 -10
rect -105 -105 -65 -95
rect -105 -175 -95 -105
rect -75 -175 -65 -105
rect -105 -185 -65 -175
rect -80 -400 -65 -185
rect -15 -290 0 -25
rect 40 -105 80 -95
rect 40 -175 50 -105
rect 70 -175 80 -105
rect 40 -185 80 -175
rect 105 -105 145 -95
rect 105 -175 115 -105
rect 135 -175 145 -105
rect 105 -185 145 -175
rect 250 -100 290 -95
rect 250 -180 255 -100
rect 285 -180 290 -100
rect 250 -185 290 -180
rect 65 -245 80 -185
rect 65 -260 230 -245
rect 215 -290 230 -260
rect -15 -300 65 -290
rect -15 -305 35 -300
rect 25 -370 35 -305
rect 55 -370 65 -300
rect 25 -380 65 -370
rect 150 -295 190 -290
rect 150 -375 155 -295
rect 185 -375 190 -295
rect 150 -380 190 -375
rect 215 -300 255 -290
rect 215 -370 225 -300
rect 245 -370 255 -300
rect 215 -380 255 -370
rect 310 -400 335 120
rect 552 113 592 124
rect 1235 150 1615 154
rect 1235 140 1585 150
rect 390 90 430 95
rect 390 10 395 90
rect 425 10 430 90
rect 390 5 430 10
rect 520 85 560 95
rect 520 15 530 85
rect 550 15 560 85
rect 520 5 560 15
rect 545 -10 560 5
rect 894 84 937 97
rect 894 12 906 84
rect 928 12 937 84
rect 545 -25 620 -10
rect 460 -105 500 -95
rect 460 -175 470 -105
rect 490 -175 500 -105
rect 460 -185 500 -175
rect 525 -105 565 -95
rect 525 -175 535 -105
rect 555 -175 565 -105
rect 525 -185 565 -175
rect 525 -250 540 -185
rect 375 -265 540 -250
rect 375 -290 390 -265
rect 605 -290 620 -25
rect 350 -300 390 -290
rect 350 -370 360 -300
rect 380 -370 390 -300
rect 350 -380 390 -370
rect 415 -295 455 -290
rect 415 -375 420 -295
rect 450 -375 455 -295
rect 415 -380 455 -375
rect 540 -300 620 -290
rect 540 -370 550 -300
rect 570 -305 620 -300
rect 670 -105 710 -95
rect 670 -175 680 -105
rect 700 -175 710 -105
rect 670 -185 710 -175
rect 570 -370 580 -305
rect 540 -380 580 -370
rect -80 -420 335 -400
rect 670 -435 690 -185
rect 894 -355 937 12
rect 1155 85 1195 95
rect 1155 15 1160 85
rect 1190 15 1195 85
rect 1155 5 1195 15
rect 960 -70 1000 -60
rect 960 -140 965 -70
rect 995 -140 1000 -70
rect 960 -150 1000 -140
rect 958 -224 1001 -216
rect 958 -295 964 -224
rect 995 -295 1001 -224
rect 958 -306 1001 -295
rect 1150 -300 1190 -290
rect 894 -427 904 -355
rect 927 -427 937 -355
rect 1150 -370 1155 -300
rect 1185 -370 1190 -300
rect 1150 -380 1190 -370
rect 894 -435 937 -427
rect 1235 -435 1265 140
rect 1575 130 1585 140
rect 1605 130 1615 150
rect 1790 150 1830 160
rect 1959 156 1975 177
rect 1790 140 1800 150
rect 1575 120 1615 130
rect 1710 130 1800 140
rect 1820 130 1830 150
rect 1710 120 1830 130
rect 1952 144 1992 156
rect 1952 124 1963 144
rect 1983 124 1992 144
rect 1445 85 1485 95
rect 1445 15 1455 85
rect 1475 15 1485 85
rect 1445 5 1485 15
rect 1575 90 1615 95
rect 1575 10 1580 90
rect 1610 10 1615 90
rect 1575 5 1615 10
rect 1445 -10 1460 5
rect 1385 -25 1460 -10
rect 1295 -105 1335 -95
rect 1295 -175 1305 -105
rect 1325 -175 1335 -105
rect 1295 -185 1335 -175
rect 1320 -400 1335 -185
rect 1385 -290 1400 -25
rect 1440 -105 1480 -95
rect 1440 -175 1450 -105
rect 1470 -175 1480 -105
rect 1440 -185 1480 -175
rect 1505 -105 1545 -95
rect 1505 -175 1515 -105
rect 1535 -175 1545 -105
rect 1505 -185 1545 -175
rect 1650 -100 1690 -95
rect 1650 -180 1655 -100
rect 1685 -180 1690 -100
rect 1650 -185 1690 -180
rect 1465 -245 1480 -185
rect 1465 -260 1630 -245
rect 1615 -290 1630 -260
rect 1385 -300 1465 -290
rect 1385 -305 1435 -300
rect 1425 -370 1435 -305
rect 1455 -370 1465 -300
rect 1425 -380 1465 -370
rect 1550 -295 1590 -290
rect 1550 -375 1555 -295
rect 1585 -375 1590 -295
rect 1550 -380 1590 -375
rect 1615 -300 1655 -290
rect 1615 -370 1625 -300
rect 1645 -370 1655 -300
rect 1615 -380 1655 -370
rect 1710 -400 1735 120
rect 1952 113 1992 124
rect 1790 90 1830 95
rect 1790 10 1795 90
rect 1825 10 1830 90
rect 1790 5 1830 10
rect 1920 85 1960 95
rect 1920 15 1930 85
rect 1950 15 1960 85
rect 1920 5 1960 15
rect 1945 -10 1960 5
rect 1945 -25 2020 -10
rect 1860 -105 1900 -95
rect 1860 -175 1870 -105
rect 1890 -175 1900 -105
rect 1860 -185 1900 -175
rect 1925 -105 1965 -95
rect 1925 -175 1935 -105
rect 1955 -175 1965 -105
rect 1925 -185 1965 -175
rect 1925 -250 1940 -185
rect 1775 -265 1940 -250
rect 1775 -290 1790 -265
rect 2005 -290 2020 -25
rect 1750 -300 1790 -290
rect 1750 -370 1760 -300
rect 1780 -370 1790 -300
rect 1750 -380 1790 -370
rect 1815 -295 1855 -290
rect 1815 -375 1820 -295
rect 1850 -375 1855 -295
rect 1815 -380 1855 -375
rect 1940 -300 2020 -290
rect 1940 -370 1950 -300
rect 1970 -305 2020 -300
rect 2070 -105 2110 -95
rect 2070 -175 2080 -105
rect 2100 -175 2110 -105
rect 2070 -185 2110 -175
rect 1970 -370 1980 -305
rect 1940 -380 1980 -370
rect 1320 -420 1735 -400
rect 2070 -435 2090 -185
rect -165 -455 690 -435
rect 1235 -455 2090 -435
<< via1 >>
rect -240 15 -235 85
rect -235 15 -215 85
rect -215 15 -210 85
rect -245 -370 -240 -300
rect -240 -370 -220 -300
rect -220 -370 -215 -300
rect 180 85 210 90
rect 180 15 185 85
rect 185 15 205 85
rect 205 15 210 85
rect 180 10 210 15
rect 255 -105 285 -100
rect 255 -175 260 -105
rect 260 -175 280 -105
rect 280 -175 285 -105
rect 255 -180 285 -175
rect 155 -300 185 -295
rect 155 -370 160 -300
rect 160 -370 180 -300
rect 180 -370 185 -300
rect 155 -375 185 -370
rect 395 85 425 90
rect 395 15 400 85
rect 400 15 420 85
rect 420 15 425 85
rect 395 10 425 15
rect 420 -300 450 -295
rect 420 -370 425 -300
rect 425 -370 445 -300
rect 445 -370 450 -300
rect 420 -375 450 -370
rect 1160 15 1165 85
rect 1165 15 1185 85
rect 1185 15 1190 85
rect 965 -140 970 -70
rect 970 -140 990 -70
rect 990 -140 995 -70
rect 964 -225 995 -224
rect 964 -295 969 -225
rect 969 -295 990 -225
rect 990 -295 995 -225
rect 1155 -370 1160 -300
rect 1160 -370 1180 -300
rect 1180 -370 1185 -300
rect 1580 85 1610 90
rect 1580 15 1585 85
rect 1585 15 1605 85
rect 1605 15 1610 85
rect 1580 10 1610 15
rect 1655 -105 1685 -100
rect 1655 -175 1660 -105
rect 1660 -175 1680 -105
rect 1680 -175 1685 -105
rect 1655 -180 1685 -175
rect 1555 -300 1585 -295
rect 1555 -370 1560 -300
rect 1560 -370 1580 -300
rect 1580 -370 1585 -300
rect 1555 -375 1585 -370
rect 1795 85 1825 90
rect 1795 15 1800 85
rect 1800 15 1820 85
rect 1820 15 1825 85
rect 1795 10 1825 15
rect 1820 -300 1850 -295
rect 1820 -370 1825 -300
rect 1825 -370 1845 -300
rect 1845 -370 1850 -300
rect 1820 -375 1850 -370
<< metal2 >>
rect -274 100 -188 101
rect 697 100 776 101
rect 2073 100 2201 101
rect -274 90 776 100
rect 1145 94 2201 100
rect -274 85 180 90
rect -274 15 -240 85
rect -210 15 180 85
rect -274 10 180 15
rect 210 10 395 90
rect 425 10 776 90
rect -274 0 776 10
rect 697 -45 776 0
rect 1141 90 2201 94
rect 1141 85 1580 90
rect 1141 15 1160 85
rect 1190 15 1580 85
rect 1141 10 1580 15
rect 1610 10 1795 90
rect 1825 10 2201 90
rect 1141 1 2201 10
rect 1141 0 2160 1
rect 1141 -45 1220 0
rect 697 -70 1220 -45
rect 250 -100 290 -95
rect 250 -180 255 -100
rect 285 -180 290 -100
rect 697 -140 965 -70
rect 995 -140 1220 -70
rect 697 -151 1220 -140
rect 1650 -100 1690 -95
rect 697 -152 776 -151
rect 955 -155 1005 -151
rect -273 -290 -107 -289
rect 250 -290 290 -180
rect 1650 -180 1655 -100
rect 1685 -180 1690 -100
rect 737 -224 1192 -207
rect 737 -290 964 -224
rect -273 -295 964 -290
rect 995 -290 1192 -224
rect 1650 -290 1690 -180
rect 995 -295 2201 -290
rect -273 -300 155 -295
rect -273 -370 -245 -300
rect -215 -370 155 -300
rect -273 -375 155 -370
rect 185 -375 420 -295
rect 450 -300 1555 -295
rect 450 -313 1155 -300
rect 450 -375 775 -313
rect -273 -380 775 -375
rect 1150 -370 1155 -313
rect 1185 -370 1555 -300
rect 1150 -375 1555 -370
rect 1585 -375 1820 -295
rect 1850 -375 2201 -295
rect 1150 -380 2201 -375
rect -263 -381 -107 -380
rect 2089 -382 2201 -380
<< labels >>
rlabel poly 300 145 300 145 5 Vb
port 1 s
rlabel poly 1700 145 1700 145 5 Vb
port 1 s
<< end >>
